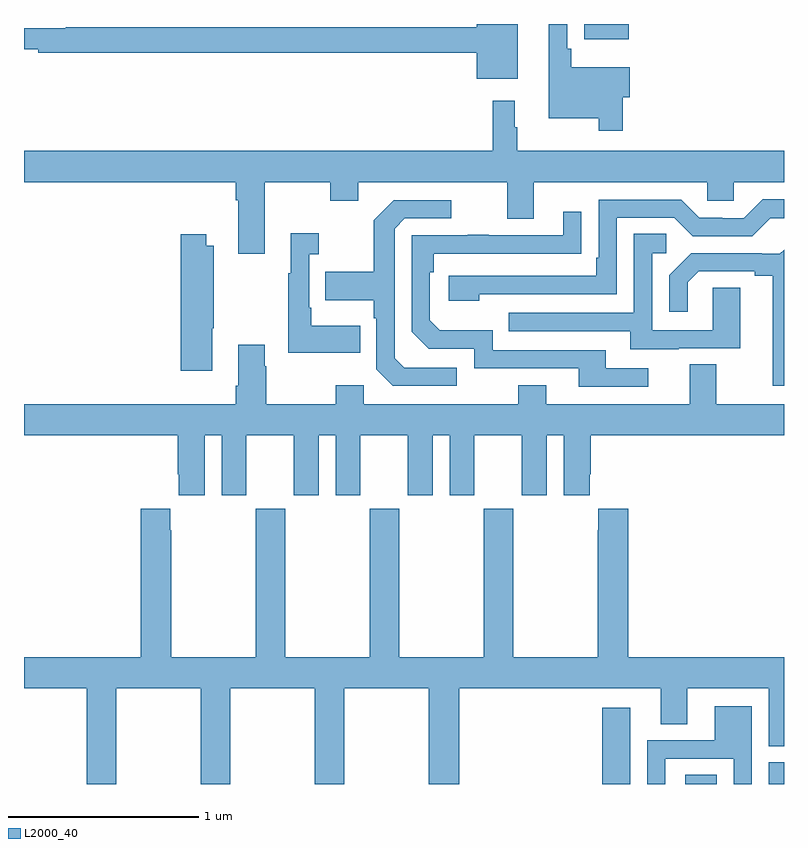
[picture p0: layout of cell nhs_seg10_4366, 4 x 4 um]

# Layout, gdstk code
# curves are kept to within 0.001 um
import gdstk
lib = gdstk.Library(unit=1e-6, precision=1e-09)
def R(c, l, rs):  # rectangles x0, y0, x1, y1
    for r in rs: c.add(gdstk.rectangle(r[:2], r[2:], *l))
def P(c, l, *ps):  # polygons
    for p in ps: c.add(gdstk.Polygon(p, *l))
L2000_40 = (2000, 40)

nhs_seg10_4366 = lib.new_cell('nhs_seg10_4366')
R(nhs_seg10_4366, L2000_40, [(360.044,1278.5,360.19,1278.901), (360.479,1278.5,360.646,1278.548), (360.92,1278.5,361,1278.615), (359.948,1282.421,360.184,1282.5)])
P(nhs_seg10_4366, L2000_40, [(360.152,1282.115),(360.187,1282.115),(360.187,1282.273),(359.879,1282.273),(359.879,1282.369),(359.859,1282.369),(359.859,1282.5),(359.762,1282.5),(359.762,1282.004),(360.024,1282.004),(360.024,1281.939),(360.152,1281.939)],
  [(359.599,1282.5),(359.384,1282.5),(359.384,1282.484),(357.221,1282.484),(357.221,1282.477),(357,1282.477),(357,1282.367),(357.076,1282.367),(357.076,1282.348),(359.384,1282.348),(359.384,1282.211),(359.599,1282.211)],
  [(358.267,1281.668),(358.612,1281.668),(358.612,1281.569),(358.759,1281.569),(358.759,1281.668),(359.543,1281.668),(359.543,1281.474),(359.683,1281.474),(359.683,1281.668),(360.597,1281.668),(360.597,1281.57),(360.735,1281.57),(360.735,1281.668),(361,1281.668),(361,1281.832),(359.596,1281.832),(359.596,1281.956),(359.584,1281.956),(359.584,1282.096),(359.467,1282.096),(359.467,1281.832),(357,1281.832),(357,1281.668),(358.115,1281.668),(358.115,1281.572),(358.127,1281.572),(358.127,1281.291),(358.267,1281.291)],
  [(359.396,1281.078),(360.12,1281.078),(360.12,1281.48),(360.423,1281.48),(360.519,1281.384),(360.834,1281.384),(360.927,1281.477),(361,1281.477),(361,1281.577),(360.889,1281.577),(360.789,1281.477),(360.674,1281.477),(360.674,1281.48),(360.555,1281.48),(360.459,1281.576),(360.024,1281.576),(360.024,1281.271),(360.011,1281.271),(360.011,1281.174),(359.235,1281.174),(359.235,1281.044),(359.396,1281.044)],
  [(359.278,1280.691),(359.001,1280.691),(358.95,1280.742),(358.95,1281.423),(359.004,1281.477),(359.248,1281.477),(359.248,1281.573),(358.947,1281.573),(358.842,1281.467),(358.842,1281.195),(358.585,1281.195),(358.585,1281.047),(358.842,1281.047),(358.842,1280.951),(358.854,1280.951),(358.854,1280.682),(358.941,1280.595),(359.278,1280.595)],
  [(360.286,1280.688),(360.061,1280.688),(360.061,1280.784),(359.466,1280.784),(359.466,1280.887),(359.189,1280.887),(359.136,1280.94),(359.136,1281.194),(359.156,1281.194),(359.156,1281.291),(359.933,1281.292),(359.933,1281.511),(359.837,1281.511),(359.837,1281.387),(359.447,1281.387),(359.447,1281.392),(359.335,1281.392),(359.335,1281.387),(359.04,1281.387),(359.04,1280.88),(359.13,1280.79),(359.37,1280.79),(359.37,1280.688),(359.921,1280.688),(359.921,1280.592),(360.286,1280.592)],
  [(358.769,1280.911),(358.513,1280.911),(358.513,1281.007),(358.5,1281.007),(358.5,1281.287),(358.552,1281.287),(358.552,1281.4),(358.403,1281.4),(358.403,1281.187),(358.392,1281.187),(358.392,1280.771),(358.769,1280.771)],
  [(360.445,1280.793),(360.769,1280.793),(360.769,1281.113),(360.624,1281.113),(360.624,1280.889),(360.306,1280.889),(360.306,1281.294),(360.379,1281.294),(360.379,1281.395),(360.21,1281.395),(360.21,1280.979),(359.551,1280.979),(359.551,1280.883),(360.191,1280.883),(360.191,1280.789),(360.445,1280.789)],
  [(357.991,1280.899),(357.999,1280.899),(357.999,1281.334),(357.958,1281.334),(357.958,1281.394),(357.824,1281.394),(357.824,1280.676),(357.991,1280.676)],
  [(361,1281.313),(360.978,1281.291),(360.884,1281.291),(360.884,1281.294),(360.512,1281.294),(360.396,1281.178),(360.396,1280.985),(360.493,1280.985),(360.493,1281.141),(360.55,1281.198),(360.845,1281.198),(360.845,1281.176),(360.941,1281.176),(360.941,1280.595),(361,1280.595)],
  [(357.952,1280.336),(358.04,1280.336),(358.04,1280.019),(358.171,1280.019),(358.171,1280.336),(358.421,1280.336),(358.421,1280.019),(358.552,1280.019),(358.552,1280.336),(358.64,1280.336),(358.64,1280.019),(358.771,1280.019),(358.771,1280.336),(359.021,1280.336),(359.021,1280.019),(359.152,1280.019),(359.152,1280.336),(359.24,1280.336),(359.24,1280.019),(359.371,1280.019),(359.371,1280.336),(359.621,1280.336),(359.621,1280.019),(359.752,1280.019),(359.752,1280.336),(359.84,1280.336),(359.84,1280.019),(359.977,1280.019),(359.977,1280.131),(359.984,1280.131),(359.984,1280.336),(361,1280.336),(361,1280.5),(360.643,1280.5),(360.643,1280.708),(360.503,1280.708),(360.503,1280.5),(359.749,1280.5),(359.749,1280.599),(359.602,1280.599),(359.602,1280.5),(358.788,1280.5),(358.788,1280.599),(358.642,1280.599),(358.642,1280.5),(358.275,1280.5),(358.275,1280.699),(358.267,1280.699),(358.267,1280.812),(358.127,1280.812),(358.127,1280.596),(358.115,1280.596),(358.115,1280.5),(357,1280.5),(357,1280.336),(357.809,1280.336),(357.809,1280.131),(357.815,1280.131),(357.815,1280.019),(357.952,1280.019)],
  [(357.486,1279.004),(357.931,1279.004),(357.931,1278.5),(358.086,1278.5),(358.086,1279.004),(358.531,1279.004),(358.531,1278.5),(358.686,1278.5),(358.686,1279.004),(359.131,1279.004),(359.131,1278.5),(359.291,1278.5),(359.291,1279.004),(360.35,1279.004),(360.35,1278.814),(360.49,1278.814),(360.49,1279.004),(360.92,1279.004),(360.92,1278.7),(361,1278.7),(361,1279.168),(360.179,1279.168),(360.179,1279.948),(360.023,1279.948),(360.023,1279.835),(360.019,1279.835),(360.019,1279.168),(359.574,1279.168),(359.574,1279.948),(359.419,1279.948),(359.419,1279.168),(358.974,1279.168),(358.974,1279.948),(358.819,1279.948),(358.819,1279.168),(358.374,1279.168),(358.374,1279.948),(358.219,1279.948),(358.219,1279.168),(357.774,1279.168),(357.774,1279.835),(357.769,1279.835),(357.769,1279.948),(357.614,1279.948),(357.614,1279.168),(357,1279.168),(357,1279.004),(357.331,1279.004),(357.331,1278.5),(357.486,1278.5)],
  [(360.375,1278.633),(360.735,1278.633),(360.735,1278.5),(360.831,1278.5),(360.831,1278.91),(360.635,1278.91),(360.635,1278.729),(360.279,1278.729),(360.279,1278.5),(360.375,1278.5)])

lib.write_gds('nhs_seg10_4366.gds')
